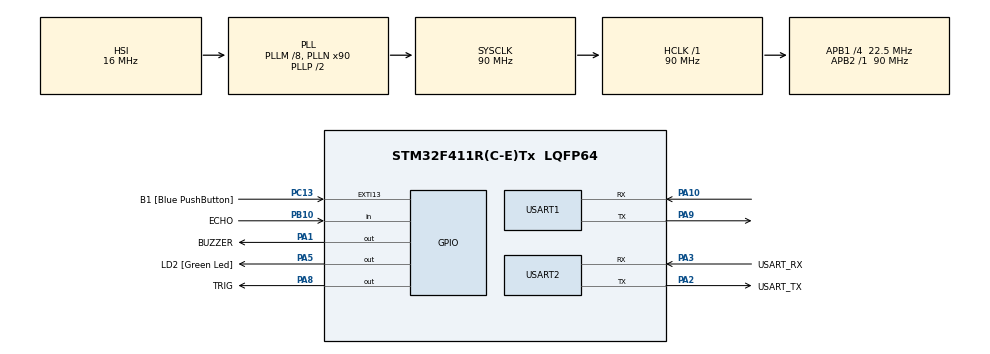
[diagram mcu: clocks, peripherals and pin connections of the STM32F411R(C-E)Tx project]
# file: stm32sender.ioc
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Mcu.Family=STM32F4
Mcu.Name=STM32F411R(C-E)Tx
Mcu.Package=LQFP64
NVIC.PriorityGroup=NVIC_PRIORITYGROUP_0
NVIC.USART1_IRQn=true\:0\:0\:false\:false\:true\:true\:true\:true
NVIC.USART2_IRQn=true\:0\:0\:false\:false\:true\:true\:true\:true
PA1.GPIO_Label=BUZZER
PA1.GPIO_ModeDefaultOutputPP=GPIO_MODE_OUTPUT_OD
PA1.GPIO_PuPd=GPIO_NOPULL
PA1.Signal=GPIO_Output
PA10.Mode=Asynchronous
PA10.Signal=USART1_RX
PA13.GPIO_Label=TMS
PA13.Mode=Serial_Wire
PA13.Signal=SYS_JTMS-SWDIO
PA14.GPIO_Label=TCK
PA14.Mode=Serial_Wire
PA14.Signal=SYS_JTCK-SWCLK
PA2.GPIO_Label=USART_TX
PA2.Mode=Asynchronous
PA2.Signal=USART2_TX
PA3.GPIO_Label=USART_RX
PA3.Mode=Asynchronous
PA3.Signal=USART2_RX
PA5.GPIO_Label=LD2 [Green Led]
PA5.Signal=GPIO_Output
PA8.GPIO_Label=TRIG
PA8.Signal=GPIO_Output
PA9.Mode=Asynchronous
PA9.Signal=USART1_TX
PB10.GPIO_Label=ECHO
PB10.Signal=GPIO_Input
PB3.GPIO_Label=SWO
PB3.Signal=SYS_JTDO-SWO
PC13-ANTI_TAMP.GPIO_Label=B1 [Blue PushButton]
PC13-ANTI_TAMP.GPIO_ModeDefaultEXTI=GPIO_MODE_IT_FALLING
PC13-ANTI_TAMP.Signal=GPXTI13
PC14-OSC32_IN.Mode=LSE-External-Oscillator
PC14-OSC32_IN.Signal=RCC_OSC32_IN
PC15-OSC32_OUT.Mode=LSE-External-Oscillator
PC15-OSC32_OUT.Signal=RCC_OSC32_OUT
PH0\ -\ OSC_IN.Mode=HSE-External-Clock-Source
PH0\ -\ OSC_IN.Signal=RCC_OSC_IN
PH1\ -\ OSC_OUT.Mode=HSE-External-Clock-Source
PH1\ -\ OSC_OUT.Signal=RCC_OSC_OUT
ProjectManager.HeapSize=0x200
ProjectManager.StackSize=0x400
ProjectManager.TargetToolchain=STM32CubeIDE
RCC.48MHZClocksFreq_Value=45000000
RCC.AHBFreq_Value=90000000
RCC.APB1CLKDivider=RCC_HCLK_DIV4
RCC.APB1Freq_Value=22500000
RCC.APB1TimFreq_Value=45000000
RCC.APB2Freq_Value=90000000
RCC.APB2TimFreq_Value=90000000
RCC.CortexFreq_Value=90000000
RCC.FLatency-AdvancedSettings=FLASH_LATENCY_2
RCC.HCLKFreq_Value=90000000
RCC.HSE_VALUE=8000000
RCC.HSI_VALUE=16000000
RCC.PLLM=8
RCC.PLLN=90
RCC.SYSCLKFreq_VALUE=90000000
RCC.SYSCLKSource=RCC_SYSCLKSOURCE_PLLCLK
RCC.VCOOutputFreq_Value=180000000
TIM4.Period=0
TIM4.Prescaler=84-1
USART1.VirtualMode=VM_ASYNC
USART2.VirtualMode=VM_ASYNC
VP_TIM4_VS_ClockSourceINT.Mode=Internal
board=NUCLEO-F411RE

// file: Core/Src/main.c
/* USER CODE BEGIN Header */
/**
  ******************************************************************************
  * @file           : main.c
  * @brief          : Main program body
  ******************************************************************************
  * @attention
  *
  * <h2><center>&copy; Copyright (c) 2019 STMicroelectronics.
  * All rights reserved.</center></h2>
  *
  * This software component is licensed by ST under BSD 3-Clause license,
  * the "License"; You may not use this file except in compliance with the
  * License. You may obtain a copy of the License at:
  *                        opensource.org/licenses/BSD-3-Clause
  *
  ******************************************************************************
  */
/* USER CODE END Header */
#include "main.h"

/* USER CODE BEGIN Includes */
#include <string.h>
#include <stdio.h>
/* USER CODE END Includes */

/* USER CODE BEGIN PTD */
#define usTIM TIM4
/* USER CODE END PTD */

TIM_HandleTypeDef htim4;

UART_HandleTypeDef huart1;
UART_HandleTypeDef huart2;

void SystemClock_Config(void);
static void MX_GPIO_Init(void);
static void MX_USART2_UART_Init(void);
static void MX_USART1_UART_Init(void);
static void MX_TIM4_Init(void);
/* USER CODE BEGIN PFP */
void usDelay(uint32_t uSec);
/* USER CODE END PFP */

/* USER CODE BEGIN 0 */
// Speed of sound in cm/usec
const double sound_Speed = 0.0343;
double water_height;
double floor_height;

char uartBuf[100];

/* USER CODE END 0 */

int main(void)
{
  /* USER CODE BEGIN 1 */
  uint32_t numTicks = 0;
  /* USER CODE END 1 */

  /* MCU Configuration--------------------------------------------------------*/

  /* Reset of all peripherals, Initializes the Flash interface and the Systick. */
  HAL_Init();

  /* Configure the system clock */
  SystemClock_Config();

  /* Initialize all configured peripherals */
  MX_GPIO_Init();
  MX_USART2_UART_Init();
  MX_USART1_UART_Init();
  MX_TIM4_Init();
  /* USER CODE BEGIN 2 */

//  HAL_TIM_PWM_Start(&htim2, TIM_CHANNEL_1);

  uint32_t count_ticks = 0;
  const int set_point = 3;
  uint8_t isPressed = 0 ;
  double water_level = 0.0 ;
  const double threshold = 5.0 ;

  HAL_GPIO_WritePin(GPIOA, GPIO_PIN_1, 1) ;

  /* USER CODE END 2 */

  /* Infinite loop */
  /* USER CODE BEGIN WHILE */
  while (1)
  {
	 count_ticks++;
    /* USER CODE END WHILE */

    /* USER CODE BEGIN 3 */
    HAL_GPIO_WritePin(TRIG_GPIO_Port, TRIG_Pin, GPIO_PIN_RESET);
    usDelay(3);

    HAL_GPIO_WritePin(TRIG_GPIO_Port, TRIG_Pin, GPIO_PIN_SET);
    usDelay(10);
    HAL_GPIO_WritePin(TRIG_GPIO_Port, TRIG_Pin, GPIO_PIN_RESET);

    while (HAL_GPIO_ReadPin(ECHO_GPIO_Port, ECHO_Pin) == GPIO_PIN_RESET);

    numTicks = 0;
    while (HAL_GPIO_ReadPin(ECHO_GPIO_Port, ECHO_Pin) == GPIO_PIN_SET)
    {
      numTicks++;
      usDelay(2); // 2.8 usec
    }

    water_height = (numTicks + 0.0f) * 2.8 * sound_Speed ; //distance between sensor and water

//    HAL_GPIO_WritePin(GPIOA, GPIO_PIN_1, 1) ;

    if (count_ticks < set_point) {
    	floor_height = water_height ;
    	HAL_Delay(500) ;
    } else if (count_ticks > set_point) {
    	water_level = floor_height - water_height ;
//    	HAL_GPIO_WritePin(GPIOA, GPIO_PIN_4, 0) ;
    	if (water_level > threshold)
    		HAL_GPIO_WritePin(BUZZER_GPIO_Port, BUZZER_Pin, 0) ;
    	HAL_Delay(500) ;
    	HAL_GPIO_WritePin(BUZZER_GPIO_Port, BUZZER_Pin, 1) ;

//    	sprintf(uartBuf, "%.2f %.2f %.2f\r\n", water_height, floor_height, water_level) ;
//		HAL_UART_Transmit(&huart2, (uint8_t *)uartBuf, strlen(uartBuf), 100);

		sprintf(uartBuf, "%.2lf", water_level) ;
		HAL_UART_Transmit_IT(&huart1, (uint8_t *)uartBuf, strlen(uartBuf));
		HAL_UART_Transmit_IT(&huart2, (uint8_t *)uartBuf, strlen(uartBuf)) ;
    } else {
    	HAL_Delay(500) ;
    }

    HAL_Delay(500);
  }
  /* USER CODE END 3 */
}

void SystemClock_Config(void)
{
  RCC_OscInitTypeDef RCC_OscInitStruct = {0};
  RCC_ClkInitTypeDef RCC_ClkInitStruct = {0};

  /** Configure the main internal regulator output voltage
  */
  __HAL_RCC_PWR_CLK_ENABLE();
  __HAL_PWR_VOLTAGESCALING_CONFIG(PWR_REGULATOR_VOLTAGE_SCALE1);

  /** Initializes the RCC Oscillators according to the specified parameters
  * in the RCC_OscInitTypeDef structure.
  */
  RCC_OscInitStruct.OscillatorType = RCC_OSCILLATORTYPE_HSI;
  RCC_OscInitStruct.HSIState = RCC_HSI_ON;
  RCC_OscInitStruct.HSICalibrationValue = RCC_HSICALIBRATION_DEFAULT;
  RCC_OscInitStruct.PLL.PLLState = RCC_PLL_ON;
  RCC_OscInitStruct.PLL.PLLSource = RCC_PLLSOURCE_HSI;
  RCC_OscInitStruct.PLL.PLLM = 8;
  RCC_OscInitStruct.PLL.PLLN = 90;
  RCC_OscInitStruct.PLL.PLLP = RCC_PLLP_DIV2;
  RCC_OscInitStruct.PLL.PLLQ = 4;
  if (HAL_RCC_OscConfig(&RCC_OscInitStruct) != HAL_OK)
  {
    Error_Handler();
  }

  /** Initializes the CPU, AHB and APB buses clocks
  */
  RCC_ClkInitStruct.ClockType = RCC_CLOCKTYPE_HCLK|RCC_CLOCKTYPE_SYSCLK
                              |RCC_CLOCKTYPE_PCLK1|RCC_CLOCKTYPE_PCLK2;
  RCC_ClkInitStruct.SYSCLKSource = RCC_SYSCLKSOURCE_PLLCLK;
  RCC_ClkInitStruct.AHBCLKDivider = RCC_SYSCLK_DIV1;
  RCC_ClkInitStruct.APB1CLKDivider = RCC_HCLK_DIV4;
  RCC_ClkInitStruct.APB2CLKDivider = RCC_HCLK_DIV1;

  if (HAL_RCC_ClockConfig(&RCC_ClkInitStruct, FLASH_LATENCY_2) != HAL_OK)
  {
    Error_Handler();
  }
}

static void MX_TIM4_Init(void)
{

  TIM_ClockConfigTypeDef sClockSourceConfig = {0};
  TIM_MasterConfigTypeDef sMasterConfig = {0};

  htim4.Instance = TIM4;
  htim4.Init.Prescaler = 84-1;
  htim4.Init.CounterMode = TIM_COUNTERMODE_UP;
  htim4.Init.Period = 0;
  htim4.Init.ClockDivision = TIM_CLOCKDIVISION_DIV1;
  htim4.Init.AutoReloadPreload = TIM_AUTORELOAD_PRELOAD_DISABLE;
  if (HAL_TIM_Base_Init(&htim4) != HAL_OK)
  {
    Error_Handler();
  }
  sClockSourceConfig.ClockSource = TIM_CLOCKSOURCE_INTERNAL;
  if (HAL_TIM_ConfigClockSource(&htim4, &sClockSourceConfig) != HAL_OK)
  {
    Error_Handler();
  }
  sMasterConfig.MasterOutputTrigger = TIM_TRGO_RESET;
  sMasterConfig.MasterSlaveMode = TIM_MASTERSLAVEMODE_DISABLE;
  if (HAL_TIMEx_MasterConfigSynchronization(&htim4, &sMasterConfig) != HAL_OK)
  {
    Error_Handler();
  }

}

static void MX_USART1_UART_Init(void)
{

  huart1.Instance = USART1;
  huart1.Init.BaudRate = 115200;
  huart1.Init.WordLength = UART_WORDLENGTH_8B;
  huart1.Init.StopBits = UART_STOPBITS_1;
  huart1.Init.Parity = UART_PARITY_NONE;
  huart1.Init.Mode = UART_MODE_TX_RX;
  huart1.Init.HwFlowCtl = UART_HWCONTROL_NONE;
  huart1.Init.OverSampling = UART_OVERSAMPLING_16;
  if (HAL_UART_Init(&huart1) != HAL_OK)
  {
    Error_Handler();
  }

}

static void MX_USART2_UART_Init(void)
{

  huart2.Instance = USART2;
  huart2.Init.BaudRate = 115200;
  huart2.Init.WordLength = UART_WORDLENGTH_8B;
  huart2.Init.StopBits = UART_STOPBITS_1;
  huart2.Init.Parity = UART_PARITY_NONE;
  huart2.Init.Mode = UART_MODE_TX_RX;
  huart2.Init.HwFlowCtl = UART_HWCONTROL_NONE;
  huart2.Init.OverSampling = UART_OVERSAMPLING_16;
  if (HAL_UART_Init(&huart2) != HAL_OK)
  {
    Error_Handler();
  }

}

static void MX_GPIO_Init(void)
{
  GPIO_InitTypeDef GPIO_InitStruct = {0};

  /* GPIO Ports Clock Enable */
  __HAL_RCC_GPIOC_CLK_ENABLE();
  __HAL_RCC_GPIOH_CLK_ENABLE();
  __HAL_RCC_GPIOA_CLK_ENABLE();
  __HAL_RCC_GPIOB_CLK_ENABLE();

  /*Configure GPIO pin Output Level */
  HAL_GPIO_WritePin(GPIOA, BUZZER_Pin|LD2_Pin|TRIG_Pin, GPIO_PIN_RESET);

  /*Configure GPIO pin : B1_Pin */
  GPIO_InitStruct.Pin = B1_Pin;
  GPIO_InitStruct.Mode = GPIO_MODE_IT_FALLING;
  GPIO_InitStruct.Pull = GPIO_NOPULL;
  HAL_GPIO_Init(B1_GPIO_Port, &GPIO_InitStruct);

  /*Configure GPIO pin : BUZZER_Pin */
  GPIO_InitStruct.Pin = BUZZER_Pin;
  GPIO_InitStruct.Mode = GPIO_MODE_OUTPUT_OD;
  GPIO_InitStruct.Pull = GPIO_NOPULL;
  GPIO_InitStruct.Speed = GPIO_SPEED_FREQ_LOW;
  HAL_GPIO_Init(BUZZER_GPIO_Port, &GPIO_InitStruct);

  /*Configure GPIO pins : LD2_Pin TRIG_Pin */
  GPIO_InitStruct.Pin = LD2_Pin|TRIG_Pin;
  GPIO_InitStruct.Mode = GPIO_MODE_OUTPUT_PP;
  GPIO_InitStruct.Pull = GPIO_NOPULL;
  GPIO_InitStruct.Speed = GPIO_SPEED_FREQ_LOW;
  HAL_GPIO_Init(GPIOA, &GPIO_InitStruct);

  /*Configure GPIO pin : ECHO_Pin */
  GPIO_InitStruct.Pin = ECHO_Pin;
  GPIO_InitStruct.Mode = GPIO_MODE_INPUT;
  GPIO_InitStruct.Pull = GPIO_NOPULL;
  HAL_GPIO_Init(ECHO_GPIO_Port, &GPIO_InitStruct);

}

/* USER CODE BEGIN 4 */
void usDelay(uint32_t uSec)
{
  if (uSec < 2)
    uSec = 2;
  usTIM->ARR = uSec - 1; /*sets the value in the auto-reload register*/
  usTIM->EGR = 1;        /*Re-initialises the timer*/
  usTIM->SR &= ~1;       // Resets the flag
  usTIM->CR1 |= 1;       // Enables the counter
  while ((usTIM->SR & 0x0001) != 1)
    ;
  usTIM->SR &= ~(0x0001);
}
/* USER CODE END 4 */

void Error_Handler(void)
{
}
